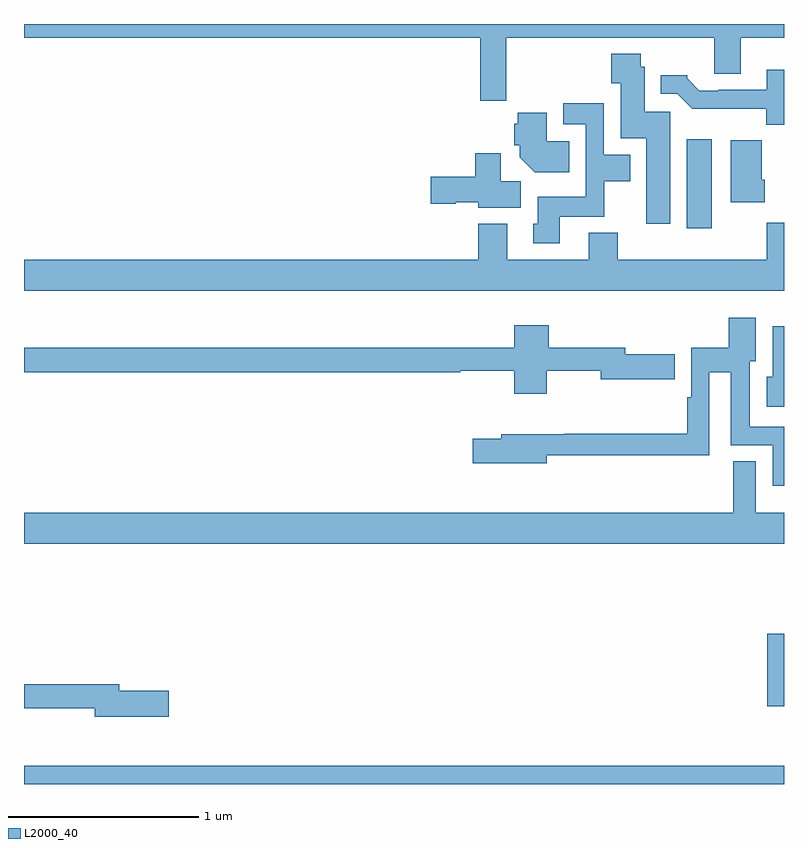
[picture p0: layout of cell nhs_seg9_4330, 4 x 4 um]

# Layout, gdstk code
import gdstk
lib = gdstk.Library(unit=1e-6, precision=1e-09)
def R(c, l, rs):  # rectangles x0, y0, x1, y1
    for r in rs: c.add(gdstk.rectangle(r[:2], r[2:], *l))
def P(c, l, *ps):  # polygons
    for p in ps: c.add(gdstk.Polygon(p, *l))
L2000_40 = (2000, 40)

nhs_seg9_4330 = lib.new_cell('nhs_seg9_4330')
R(nhs_seg9_4330, L2000_40, [(359,1184.5,363,1184.596), (362.912,1184.91,363,1185.292), (362.489,1187.424,362.62,1187.893)])
P(nhs_seg9_4330, L2000_40, [(361.538,1188.428),(362.633,1188.428),(362.633,1188.238),(362.773,1188.238),(362.773,1188.428),(363,1188.428),(363,1188.5),(359,1188.5),(359,1188.428),(361.402,1188.428),(361.402,1188.096),(361.538,1188.096)],
  [(362.401,1188.039),(362.266,1188.039),(362.266,1188.276),(362.247,1188.276),(362.247,1188.343),(362.09,1188.343),(362.09,1188.187),(362.141,1188.187),(362.141,1187.9),(362.276,1187.9),(362.276,1187.448),(362.401,1187.448)],
  [(363,1188.259),(362.909,1188.259),(362.909,1188.153),(362.653,1188.153),(362.653,1188.15),(362.554,1188.15),(362.49,1188.214),(362.49,1188.229),(362.351,1188.229),(362.351,1188.132),(362.439,1188.132),(362.518,1188.054),(362.907,1188.054),(362.907,1187.969),(363,1187.969)],
  [(361.819,1187.486),(362.055,1187.486),(362.055,1187.672),(362.191,1187.672),(362.191,1187.812),(362.052,1187.812),(362.052,1188.082),(361.839,1188.082),(361.839,1187.973),(361.956,1187.973),(361.956,1187.59),(361.703,1187.59),(361.703,1187.448),(361.679,1187.448),(361.679,1187.346),(361.819,1187.346)],
  [(361.871,1187.884),(361.75,1187.884),(361.75,1188.034),(361.598,1188.034),(361.598,1187.976),(361.58,1187.976),(361.58,1187.862),(361.61,1187.862),(361.61,1187.798),(361.688,1187.72),(361.871,1187.72)],
  [(362.899,1187.679),(362.882,1187.679),(362.882,1187.887),(362.72,1187.887),(362.72,1187.561),(362.899,1187.561)],
  [(361.615,1187.672),(361.51,1187.672),(361.51,1187.821),(361.376,1187.821),(361.376,1187.696),(361.14,1187.696),(361.14,1187.554),(361.272,1187.554),(361.272,1187.561),(361.392,1187.561),(361.392,1187.534),(361.615,1187.534)],
  [(363,1187.455),(362.909,1187.455),(362.909,1187.26),(362.126,1187.26),(362.126,1187.401),(361.973,1187.401),(361.973,1187.26),(361.543,1187.26),(361.543,1187.449),(361.391,1187.449),(361.391,1187.26),(359,1187.26),(359,1187.096),(363,1187.096)],
  [(363,1186.38),(362.821,1186.38),(362.821,1186.725),(362.851,1186.725),(362.851,1186.954),(362.708,1186.954),(362.708,1186.795),(362.511,1186.795),(362.511,1186.535),(362.491,1186.535),(362.491,1186.343),(361.846,1186.343),(361.846,1186.34),(361.511,1186.34),(361.511,1186.317),(361.362,1186.317),(361.362,1186.187),(361.75,1186.187),(361.75,1186.23),(362.607,1186.23),(362.607,1186.666),(362.72,1186.666),(362.72,1186.284),(362.94,1186.284),(362.94,1186.07),(363,1186.07)],
  [(361.75,1186.674),(362.036,1186.674),(362.036,1186.631),(362.425,1186.631),(362.425,1186.761),(362.164,1186.761),(362.164,1186.795),(361.763,1186.795),(361.763,1186.915),(361.58,1186.915),(361.58,1186.795),(359,1186.795),(359,1186.666),(361.296,1186.666),(361.296,1186.674),(361.58,1186.674),(361.58,1186.554),(361.75,1186.554)],
  [(363,1186.91),(362.94,1186.91),(362.94,1186.644),(362.909,1186.644),(362.909,1186.485),(363,1186.485)],
  [(363,1185.928),(362.851,1185.928),(362.851,1186.199),(362.733,1186.199),(362.733,1185.928),(359,1185.928),(359,1185.764),(363,1185.764)],
  [(359.761,1184.99),(359.5,1184.99),(359.5,1185.026),(359,1185.026),(359,1184.898),(359.372,1184.898),(359.372,1184.855),(359.761,1184.855)])

lib.write_gds('nhs_seg9_4330.gds')
